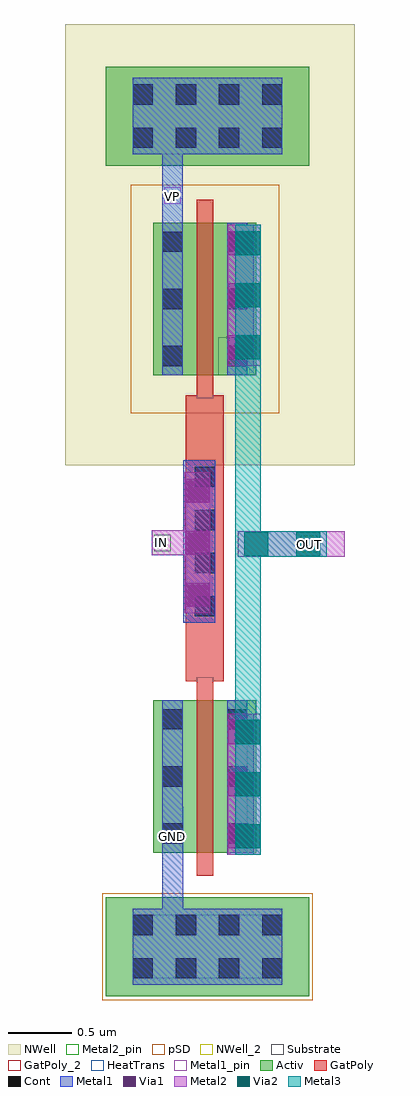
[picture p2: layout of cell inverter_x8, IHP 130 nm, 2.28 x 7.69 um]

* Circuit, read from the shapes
.subckt inverter_x8 GND IN OUT VP
XM1 OUT IN GND GND sg13_lv_nmos w=1.2u l=0.13u
XM2 OUT IN VP VP sg13_lv_pmos w=1.2u l=0.13u
.ends

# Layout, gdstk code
import gdstk
lib = gdstk.Library(unit=1e-6, precision=1e-09)
def R(c, l, rs):  # rectangles x0, y0, x1, y1
    for r in rs: c.add(gdstk.rectangle(r[:2], r[2:], *l))
def A(c, l, x, y, w, h, nx, ny, dx, dy):  # array of equal rectangles
    R(c, l, [(x+i*dx, y+j*dy, x+i*dx+w, y+j*dy+h) for i in range(nx) for j in range(ny)])
Activ = (1, 0)
GatPoly = (5, 0)
GatPoly_2 = (5, 2)
Cont = (6, 0)
Metal1 = (8, 0)
Metal1_pin = (8, 2)
Metal2 = (10, 0)
Metal2_pin = (10, 2)
pSD = (14, 0)
Via1 = (19, 0)
Via2 = (29, 0)
Metal3 = (30, 0)
NWell = (31, 0)
NWell_2 = (31, 2)
Substrate = (40, 0)
HeatTrans = (51, 0)

via_9 = lib.new_cell('Via$9')
R(via_9, Metal2, [(-0.1,-0.555,0.1,0.555)])
A(via_9, Via2, -0.095, -0.505, 0.19, 0.19, 1, 3, 0, 0.41)
R(via_9, Metal3, [(-0.1,-0.555,0.1,0.555)])

via_2_3 = lib.new_cell('Via$2$3')
R(via_2_3, Metal1, [(-0.105,-0.555,0.105,0.555)])
R(via_2_3, Metal2, [(-0.1,-0.555,0.1,0.555)])
A(via_2_3, Via1, -0.095, -0.505, 0.19, 0.19, 1, 3, 0, 0.41)

via_3_2 = lib.new_cell('Via$3$2')
R(via_3_2, Metal2, [(-0.35,-0.1,0.35,0.1)])
R(via_3_2, Via2, [(-0.3,-0.095,-0.11,0.095), (0.11,-0.095,0.3,0.095)])
R(via_3_2, Metal3, [(-0.35,-0.1,0.35,0.1)])

ntap1_3 = lib.new_cell('ntap1$3')
R(ntap1_3, Activ, [(0,0,1.6,0.78)])
A(ntap1_3, Cont, 0.21, 0.14, 0.16, 0.16, 4, 2, 0.34, 0.34)
R(ntap1_3, Metal1, [(0.21,0.09,1.39,0.69)])
R(ntap1_3, Metal1_pin, [(0.21,0.09,1.39,0.69), (0.21,0.14,1.39,0.64)])
R(ntap1_3, NWell, [(-0.24,-0.24,1.84,1.02), (0,0,1.6,0.78)])
R(ntap1_3, NWell_2, [(0,0,1.6,0.78)])
ntap1_3.add(gdstk.Label('well', (0.8,0.01), layer=63, texttype=0))
ntap1_3.add(gdstk.Label('well', (0.8,0.01), layer=31, texttype=0))

ptap1_3 = lib.new_cell('ptap1$3')
R(ptap1_3, Activ, [(0,0,1.6,0.78)])
A(ptap1_3, Cont, 0.21, 0.14, 0.16, 0.16, 4, 2, 0.34, 0.34)
R(ptap1_3, Metal1, [(0.21,0.09,1.39,0.69), (0.21,0.14,1.39,0.64)])
R(ptap1_3, Metal1_pin, [(0.21,0.14,1.39,0.64)])
R(ptap1_3, pSD, [(-0.03,-0.03,1.63,0.81)])
R(ptap1_3, Substrate, [(0,0,1.6,0.78)])
ptap1_3.add(gdstk.Label('sub!', (0.8,0.01), layer=63, texttype=0))
ptap1_3.add(gdstk.Label('sub!', (0.8,0.01), layer=40, texttype=0))

nmos_3 = lib.new_cell('nmos$3')
R(nmos_3, Activ, [(0,0,0.3,0.3), (0,0,0.81,1.2), (0.51,0,0.81,0.3)])
R(nmos_3, GatPoly, [(0.34,-0.18,0.47,1.38)])
R(nmos_3, GatPoly_2, [(0.34,-0.18,0.47,1.38)])
A(nmos_3, Cont, 0.07, 0.07, 0.16, 0.16, 1, 3, 0, 0.45)
A(nmos_3, Cont, 0.58, 0.07, 0.16, 0.16, 1, 3, 0, 0.45)
R(nmos_3, Metal1, [(0.07,0,0.23,1.2), (0.58,0,0.74,1.2)])
R(nmos_3, Metal1_pin, [(0.07,0,0.23,1.2), (0.58,0,0.74,1.2)])
R(nmos_3, HeatTrans, [(0.34,-0.18,0.47,1.38)])
nmos_3.add(gdstk.Label('nmos', (0.405,0.6), layer=63, texttype=0))
nmos_3.add(gdstk.Label('nmos', (0.405,0.6), layer=51, texttype=0))

pmos_3 = lib.new_cell('pmos$3')
R(pmos_3, Activ, [(0,0,0.3,0.3), (0,0,0.81,1.2), (0.51,0,0.81,0.3)])
R(pmos_3, GatPoly, [(0.34,-0.18,0.47,1.38), (0.34,-0.18,0.47,1.38)])
A(pmos_3, Cont, 0.07, 0.07, 0.16, 0.16, 1, 3, 0, 0.45)
A(pmos_3, Cont, 0.58, 0.07, 0.16, 0.16, 1, 3, 0, 0.45)
R(pmos_3, Metal1, [(0.07,0,0.23,1.2), (0.07,0,0.23,1.2), (0.58,0,0.74,1.2), (0.58,0,0.74,1.2)])
R(pmos_3, pSD, [(-0.18,-0.3,0.99,1.5)])
R(pmos_3, NWell, [(-0.31,-0.31,1.12,1.51)])
R(pmos_3, Substrate, [(0.51,0,0.81,0.3)])
R(pmos_3, HeatTrans, [(0.34,-0.18,0.47,1.38)])
pmos_3.add(gdstk.Label('pmos', (0.405,0.6), layer=63, texttype=0))
pmos_3.add(gdstk.Label('pmos', (0.405,0.6), layer=51, texttype=0))

via_4_3 = lib.new_cell('Via$4$3')
R(via_4_3, GatPoly, [(-0.15,-0.66,0.15,0.66)])
A(via_4_3, Cont, -0.08, -0.59, 0.16, 0.16, 1, 4, 0, 0.34)
R(via_4_3, Metal1, [(-0.08,-0.64,0.08,0.64)])

inverter_x8 = lib.new_cell('inverter_x8')
R(inverter_x8, GatPoly, [(-0.265,-2.855,-0.135,-2.655), (-0.35,-2.25,-0.05,-1.81), (-0.35,-0.49,-0.05,0)])
R(inverter_x8, Metal1, [(-0.535,-4.45,-0.37,-3.805), (-0.535,-3.805,-0.37,-3.24), (-0.37,-1.79,-0.35,-0.51), (-0.35,-1.79,-0.28,-0.51), (-0.535,0.96,-0.375,1.26), (-0.535,1.245,-0.375,2.235)])
R(inverter_x8, Metal1_pin, [(-0.52,-3.54,-0.39,-3.41), (-0.52,1.51,-0.39,1.64)])
R(inverter_x8, Metal2, [(0.53,-1.27,0.9,-1.07), (-0.62,-1.26,-0.28,-1.06)])
R(inverter_x8, Metal2_pin, [(0.555,-1.235,0.685,-1.105), (-0.6,-1.225,-0.47,-1.095)])
R(inverter_x8, Metal3, [(0.04,-3.09,0.24,-2.63), (0.04,-2.7,0.24,-0.24), (0.04,-0.34,0.24,0.76)])
R(inverter_x8, NWell, [(-1.3,-0.55,0.98,0.655), (-1.3,0.655,0.755,2.925), (0.755,0.655,0.98,2.925)])
inverter_x8.add(gdstk.Reference(via_9, (0.14,-3.06)))
inverter_x8.add(gdstk.Reference(via_2_3, (0.08,-3.06)))
inverter_x8.add(gdstk.Reference(via_2_3, (-0.26,-1.16)))
inverter_x8.add(gdstk.Reference(via_3_2, (0.41,-1.17)))
inverter_x8.add(gdstk.Reference(via_9, (0.14,0.79)))
inverter_x8.add(gdstk.Reference(via_2_3, (0.08,0.79)))
inverter_x8.add(gdstk.Reference(ntap1_3, (-0.98,1.81)))
inverter_x8.add(gdstk.Reference(ptap1_3, (-0.98,-4.73)))
inverter_x8.add(gdstk.Reference(nmos_3, (-0.605,-3.6)))
inverter_x8.add(gdstk.Reference(pmos_3, (-0.605,0.16)))
inverter_x8.add(gdstk.Reference(via_4_3, (-0.2,-1.15)))
inverter_x8.add(gdstk.Label('OUT', (0.62,-1.17), layer=10, texttype=25))
inverter_x8.add(gdstk.Label('IN', (-0.54,-1.16), layer=10, texttype=25))
inverter_x8.add(gdstk.Label('GND', (-0.455,-3.47), layer=8, texttype=25))
inverter_x8.add(gdstk.Label('VP', (-0.455,1.57), layer=8, texttype=25))

lib.write_gds('inverter_x8.gds')
